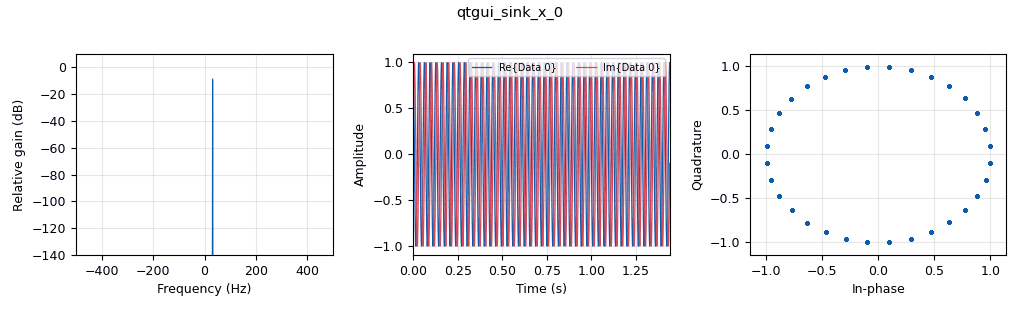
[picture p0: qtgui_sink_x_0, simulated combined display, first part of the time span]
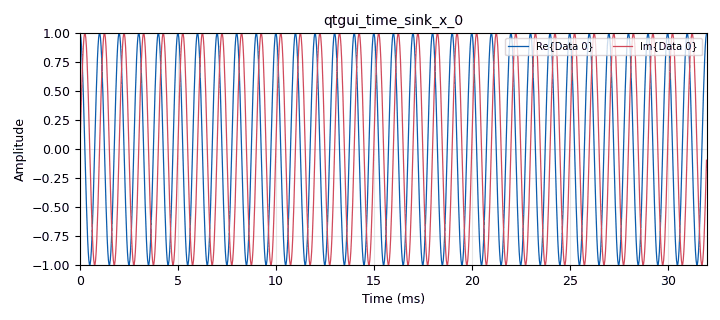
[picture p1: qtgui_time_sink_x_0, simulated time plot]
options:
  parameters:
    author: vvs
    generate_options: qt_gui
    id: tx_simple
    output_language: python
    title: Send simple sine
  states: {}

blocks:
- name: freq_carrier
  id: variable
  parameters:
    value: '400000000'
  states: {}
- name: freq_signal
  id: variable
  parameters:
    value: '1000'
  states: {}
- name: samp_rate
  id: variable
  parameters:
    value: '32000'
  states: {}
- name: server_address
  id: variable
  parameters:
    value: server_address_format % (server_ip, server_port) if server_address_format != "" else ""
  states: {}
- name: server_address_format
  id: variable_config
  parameters:
    config_file: config_file
    option: '"server_address_format"'
    section: '"main"'
    type: string
    value: '"tcp://%s:%d"'
    writeback: None
  states: {}
- name: server_bw_per_port
  id: variable
  parameters:
    value: '1000000'
  states: {}
- name: server_port
  id: variable
  parameters:
    value: int(server_port_base + (freq_carrier / server_bw_per_port))
  states: {}
- name: server_port_base
  id: variable
  parameters:
    value: '10000'
  states: {}
- name: variable_tag_object_0
  id: variable_tag_object
  parameters:
    key: pmt.intern("key")
    offset: '0'
    src: pmt.intern("src")
    value: pmt.intern("value")
  states: {}
- name: analog_sig_source_x_0
  id: analog_sig_source_x
  parameters:
    amp: '1'
    freq: freq_signal
    offset: '0'
    phase: '0.1'
    samp_rate: samp_rate
    type: complex
    waveform: analog.GR_COS_WAVE
  states: {}
- name: blocks_add_xx_0
  id: blocks_add_xx
  parameters:
    type: complex
  states: {}
- name: blocks_tags_strobe_0
  id: blocks_tags_strobe
  parameters:
    key: pmt.intern("rx_rate")
    nsamps: '1000'
    type: complex
    value: pmt.to_pmt(samp_rate)
  states: {}
- name: blocks_throttle_0
  id: blocks_throttle
  parameters:
    samples_per_second: samp_rate
    type: complex
  states: {}
- name: qtgui_sink_x_0
  id: qtgui_sink_x
  parameters:
    bw: freq_signal
    fc: '0'
    fftsize: '4096'
    showrf: 'True'
    type: complex
    wintype: firdes.WIN_BLACKMAN_hARRIS
  states: {}
- name: qtgui_time_sink_x_0
  id: qtgui_time_sink_x
  parameters:
    size: '1024'
    srate: samp_rate
    type: complex
  states: {}
- name: server_ip
  id: parameter
  parameters:
    label: Server IP
    type: str
    value: '"127.0.0.1"'
  states: {}
- name: zeromq_pub_sink_0
  id: zeromq_pub_sink
  parameters:
    address: server_address
    pass_tags: 'True'
    timeout: '100'
    type: complex
  states: {}

connections:
- [analog_sig_source_x_0, '0', blocks_add_xx_0, '0']
- [blocks_add_xx_0, '0', blocks_throttle_0, '0']
- [blocks_tags_strobe_0, '0', blocks_add_xx_0, '1']
- [blocks_throttle_0, '0', qtgui_sink_x_0, '0']
- [blocks_throttle_0, '0', qtgui_time_sink_x_0, '0']
- [blocks_throttle_0, '0', zeromq_pub_sink_0, '0']

metadata:
  file_format: 1
